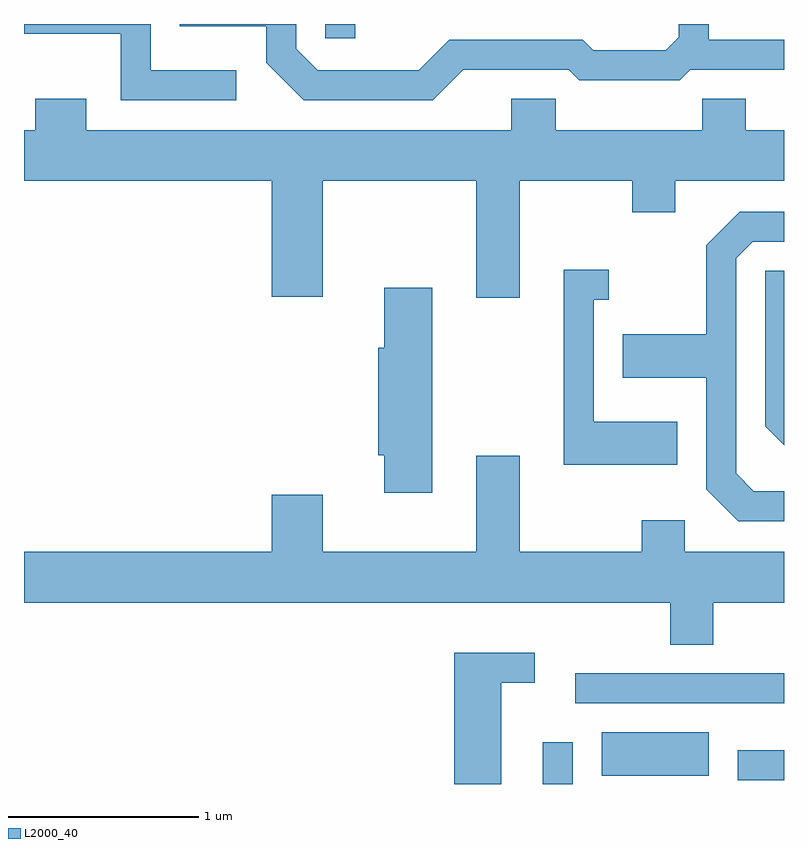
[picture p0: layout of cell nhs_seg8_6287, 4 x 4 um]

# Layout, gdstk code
import gdstk
lib = gdstk.Library(unit=1e-6, precision=1e-09)
def R(c, l, rs):  # rectangles x0, y0, x1, y1
    for r in rs: c.add(gdstk.rectangle(r[:2], r[2:], *l))
def P(c, l, *ps):  # polygons
    for p in ps: c.add(gdstk.Polygon(p, *l))
L2000_40 = (2000, 40)

nhs_seg8_6287 = lib.new_cell('nhs_seg8_6287')
R(nhs_seg8_6287, L2000_40, [(376.341,1844.342,376.499,1844.563), (377.368,1844.361,377.611,1844.519), (376.651,1844.386,377.214,1844.614), (376.513,1844.766,377.611,1844.924), (375.196,1848.268,375.354,1848.342)])
P(nhs_seg8_6287, L2000_40, [(375.922,1848.101),(376.479,1848.101),(376.534,1848.046),(377.062,1848.046),(377.117,1848.101),(377.611,1848.101),(377.611,1848.259),(377.214,1848.259),(377.214,1848.342),(377.056,1848.342),(377.056,1848.272),(376.989,1848.204),(376.607,1848.204),(376.552,1848.259),(375.849,1848.259),(375.689,1848.099),(375.157,1848.099),(375.044,1848.212),(375.044,1848.342),(374.431,1848.342),(374.431,1848.331),(374.886,1848.331),(374.886,1848.139),(375.084,1847.941),(375.762,1847.941)],
  [(374.728,1848.099),(374.279,1848.099),(374.279,1848.342),(373.611,1848.342),(373.611,1848.291),(374.121,1848.291),(374.121,1847.941),(374.728,1847.941)],
  [(376.219,1847.516),(376.811,1847.516),(376.811,1847.351),(377.039,1847.351),(377.039,1847.516),(377.611,1847.516),(377.611,1847.784),(377.409,1847.784),(377.409,1847.949),(377.181,1847.949),(377.181,1847.784),(376.409,1847.784),(376.409,1847.949),(376.176,1847.949),(376.176,1847.784),(373.939,1847.784),(373.939,1847.949),(373.671,1847.949),(373.671,1847.784),(373.611,1847.784),(373.611,1847.516),(374.916,1847.516),(374.916,1846.906),(375.184,1846.906),(375.184,1847.516),(375.991,1847.516),(375.991,1846.901),(376.219,1846.901)],
  [(377.611,1845.884),(377.452,1845.884),(377.359,1845.977),(377.359,1847.109),(377.447,1847.196),(377.611,1847.196),(377.611,1847.354),(377.379,1847.354),(377.201,1847.177),(377.201,1846.709),(376.761,1846.709),(376.761,1846.481),(377.201,1846.481),(377.201,1845.894),(377.369,1845.726),(377.611,1845.726)],
  [(377.049,1846.249),(376.609,1846.249),(376.609,1846.891),(376.688,1846.891),(376.688,1847.049),(376.451,1847.049),(376.451,1846.021),(377.049,1846.021)],
  [(377.611,1847.044),(377.511,1847.044),(377.511,1846.224),(377.611,1846.124)],
  [(375.759,1846.954),(375.506,1846.954),(375.506,1846.639),(375.476,1846.639),(375.476,1846.071),(375.506,1846.071),(375.506,1845.876),(375.759,1845.876)],
  [(377.239,1845.296),(377.611,1845.296),(377.611,1845.564),(377.089,1845.564),(377.089,1845.729),(376.861,1845.729),(376.861,1845.564),(376.219,1845.564),(376.219,1846.069),(375.991,1846.069),(375.991,1845.564),(375.184,1845.564),(375.184,1845.864),(374.916,1845.864),(374.916,1845.564),(373.611,1845.564),(373.611,1845.296),(377.011,1845.296),(377.011,1845.076),(377.239,1845.076)],
  [(376.124,1844.876),(376.298,1844.876),(376.298,1845.034),(375.876,1845.034),(375.876,1844.342),(376.124,1844.342)])

lib.write_gds('nhs_seg8_6287.gds')
